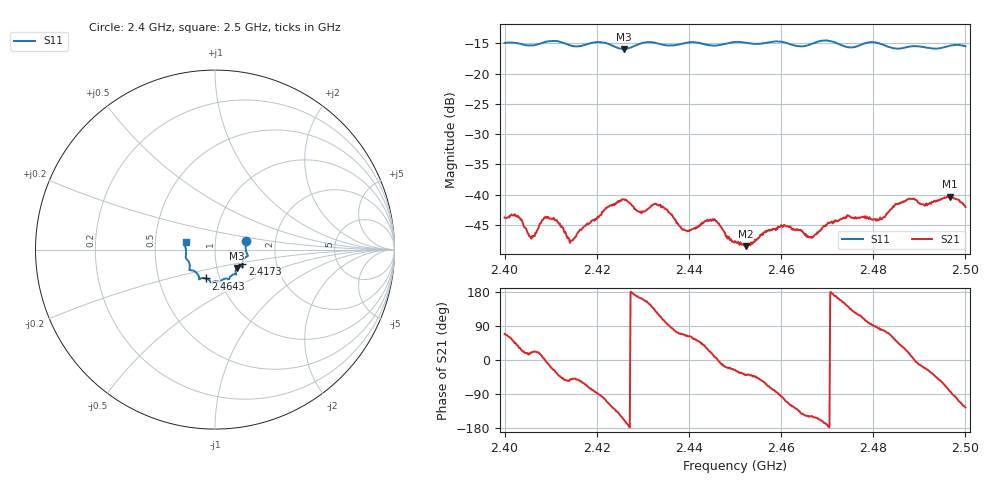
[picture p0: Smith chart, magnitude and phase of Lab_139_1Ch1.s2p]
# Hz S RI R 50
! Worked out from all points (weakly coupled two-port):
!   601 points, 2.4 GHz to 2.5 GHz, reference 50 ohm
!   highest |S21| = -40.32 dB at 2.4967 GHz (marker M1); lowest = -48.5 dB at 2.4523 GHz (marker M2)
!   lowest |S11| = -15.9 dB at 2.4258 GHz (marker M3), VSWR 1.38, Z = 62.3 - j13.3 ohm
!   |S11| at or under -10 dB: start of sweep to end of sweep
!   S12 and S22 are empty: the file has one direction only
!   S11 on the Smith chart (normalised r, x): 2.4 GHz: 1.41, +0.14; 2.4173 GHz: 1.34, -0.23; 2.4643 GHz: 0.86, -0.29; 2.5 GHz: 0.72, +0.06
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2.4e9  0.1732 0.0487  0.00232 0.00603  0 0  0 0
2.402667e9  0.1753 0.0367  0.00509 0.00416  0 0  0 0
2.405833e9  0.1707 0.00365  0.00404 0.00154  0 0  0 0
2.409e9  0.1812 -0.0289  0.00652 -0.000471  0 0  0 0
2.414167e9  0.1651 -0.0481  0.00249 -0.00312  0 0  0 0
2.416667e9  0.153 -0.0742  0.00278 -0.0043  0 0  0 0
2.417333e9  0.1521 -0.0817  0.0025 -0.00489  0 0  0 0
2.425833e9  0.1218 -0.1038  -0.00843 -0.00358  0 0  0 0
2.4295e9  0.1162 -0.1344  -0.00695 0.00206  0 0  0 0
2.433333e9  0.1127 -0.1371  -0.00421 0.007  0 0  0 0
2.438833e9  0.0805 -0.1587  0.00195 0.00477  0 0  0 0
2.4455e9  0.0513 -0.1629  0.00621 0.000965  0 0  0 0
2.45e9  0.0288 -0.1809  0.0037 -0.00183  0 0  0 0
2.452333e9  0.0209 -0.1792  0.00287 -0.00241  0 0  0 0
2.460333e9  -0.0248 -0.1815  -0.000854 -0.00531  0 0  0 0
2.464333e9  -0.0498 -0.1609  -0.00388 -0.0032  0 0  0 0
2.466667e9  -0.0761 -0.1593  -0.0037 -0.00235  0 0  0 0
2.474167e9  -0.0987 -0.1342  -0.0053 0.00367  0 0  0 0
2.483333e9  -0.1404 -0.0899  0.0024 0.00678  0 0  0 0
2.487833e9  -0.1595 -0.0515  0.00888 0.0027  0 0  0 0
2.496667e9  -0.1686 0.0249  0.00115 -0.00957  0 0  0 0
2.5e9  -0.1635 0.0425  -0.00457 -0.00644  0 0  0 0
